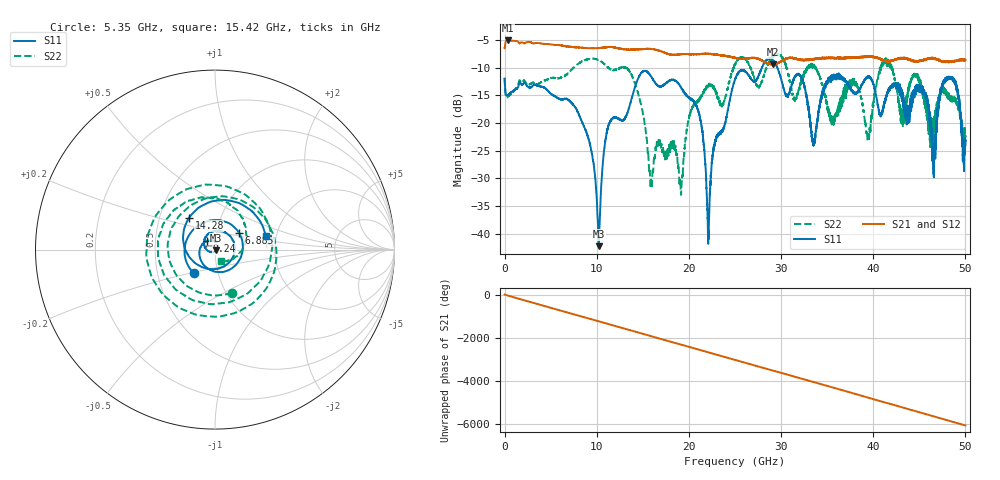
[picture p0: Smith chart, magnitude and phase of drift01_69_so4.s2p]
!Created with skrf (http://scikit-rf.org).
# Hz S RI R 50.0
!freq ReS11 ImS11 ReS21 ImS21 ReS12 ImS12 ReS22 ImS22
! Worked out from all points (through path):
!   10001 points, 300 kHz to 50 GHz, reference 50 ohm
!   highest |S21| = -5.05 dB at 345.3 MHz (marker M1); lowest = -9.4 dB at 29.12 GHz (marker M2)
!   group delay of S21, straight-line fit = 336 ps
!   lowest |S11| = -42.3 dB at 10.21 GHz (marker M3), VSWR 1.02, Z = 50.6 - j0.504 ohm
!   |S11| at or under -10 dB: start of sweep to 27.9 GHz; 29.59 GHz to end of sweep
!   |S22| runs from -33.0 to -7.5 dB; largest |S21 - S12| = 0.013
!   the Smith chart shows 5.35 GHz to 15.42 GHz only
!   S11 on the Smith chart (normalised r, x): 5.35 GHz: 0.76, -0.21; 6.885 GHz: 1.28, +0.24; 9.24 GHz: 0.91, +0.09; 14.28 GHz: 0.71, +0.26; 15.42 GHz: 1.76, +0.29
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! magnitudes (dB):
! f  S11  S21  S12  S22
! 300 kHz  -12.0  -6.5  -6.6  -11.8
! 345.3 MHz  -14.9  -5.1  -5.1  -15.3
! 5.35 GHz  -15.0  -5.8  -5.8  -11.8
! 6.885 GHz  -15.8  -6.1  -6.1  -11.0
! 8.335 GHz  -19.5  -6.4  -6.3  -8.9
! 9.24 GHz  -23.7  -6.5  -6.4  -8.4
! 10.21 GHz  -42.3  -6.4  -6.4  -8.6
! 11.23 GHz  -20.7  -6.3  -6.2  -9.9
! 14.28 GHz  -12.8  -6.7  -6.7  -13.4
! 15.42 GHz  -10.7  -6.6  -6.6  -22.8
! 16.67 GHz  -13.3  -6.9  -6.8  -23.3
! 19.14 GHz  -13.5  -7.5  -7.5  -32.8
! 20.85 GHz  -17.0  -7.6  -7.5  -16.1
! 22.12 GHz  -41.0  -7.5  -7.5  -13.2
! 25 GHz  -12.1  -8.2  -8.2  -9.4
! 29.12 GHz  -8.7  -9.4  -9.4  -8.0
! 33.34 GHz  -22.5  -8.5  -8.4  -9.6
! 39.46 GHz  -11.6  -7.9  -8.0  -22.0
! 41.67 GHz  -13.8  -8.8  -8.7  -9.3
! 46.55 GHz  -27.2  -8.3  -8.3  -19.8
! 48.52 GHz  -11.8  -8.9  -8.9  -15.5
! 50 GHz  -23.2  -8.6  -8.7  -23.0
